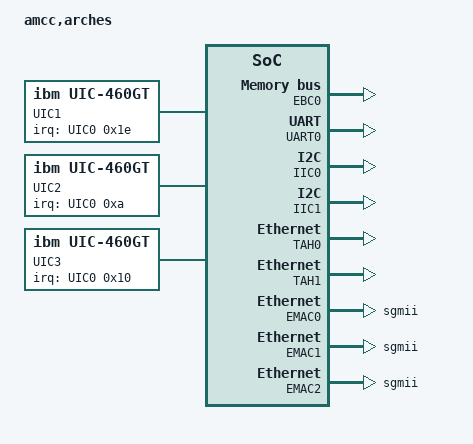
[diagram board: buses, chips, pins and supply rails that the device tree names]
/*
 * Device Tree Source for AMCC Arches (dual 460GT board)
 *
 * (C) Copyright 2008 Applied Micro Circuits Corporation
 * Victor Gallardo <vgallardo@amcc.com>
 * Adam Graham <agraham@amcc.com>
 *
 * Based on the glacier.dts file
 *   Stefan Roese <sr@denx.de>
 *   Copyright 2008 DENX Software Engineering
 *
 * See file CREDITS for list of people who contributed to this
 * project.
 *
 * This program is free software; you can redistribute it and/or
 * modify it under the terms of the GNU General Public License as
 * published by the Free Software Foundation; either version 2 of
 * the License, or (at your option) any later version.
 *
 * This program is distributed in the hope that it will be useful,
 * but WITHOUT ANY WARRANTY; without even the implied warranty of
 * MERCHANTABILITY or FITNESS FOR A PARTICULAR PURPOSE. See the
 * GNU General Public License for more details.
 *
 * You should have received a copy of the GNU General Public License
 * along with this program; if not, write to the Free Software
 * Foundation, Inc., 59 Temple Place, Suite 330, Boston,
 * MA 02111-1307 USA
 */

/dts-v1/;

/ {
	#address-cells = <2>;
	#size-cells = <1>;
	model = "amcc,arches";
	compatible = "amcc,arches";
	dcr-parent = <&{/cpus/cpu@0}>;

	aliases {
		ethernet0 = &EMAC0;
		ethernet1 = &EMAC1;
		ethernet2 = &EMAC2;
		serial0 = &UART0;
	};

	cpus {
		#address-cells = <1>;
		#size-cells = <0>;

		cpu@0 {
			device_type = "cpu";
			model = "PowerPC,460GT";
			reg = <0x00000000>;
			clock-frequency = <0>; /* Filled in by U-Boot */
			timebase-frequency = <0>; /* Filled in by U-Boot */
			i-cache-line-size = <32>;
			d-cache-line-size = <32>;
			i-cache-size = <32768>;
			d-cache-size = <32768>;
			dcr-controller;
			dcr-access-method = "native";
		};
	};

	memory {
		device_type = "memory";
		reg = <0x00000000 0x00000000 0x00000000>; /* Filled in by U-Boot */
	};

	UIC0: interrupt-controller0 {
		compatible = "ibm,uic-460gt","ibm,uic";
		interrupt-controller;
		cell-index = <0>;
		dcr-reg = <0x0c0 0x009>;
		#address-cells = <0>;
		#size-cells = <0>;
		#interrupt-cells = <2>;
	};

	UIC1: interrupt-controller1 {
		compatible = "ibm,uic-460gt","ibm,uic";
		interrupt-controller;
		cell-index = <1>;
		dcr-reg = <0x0d0 0x009>;
		#address-cells = <0>;
		#size-cells = <0>;
		#interrupt-cells = <2>;
		interrupts = <0x1e 0x4 0x1f 0x4>; /* cascade */
		interrupt-parent = <&UIC0>;
	};

	UIC2: interrupt-controller2 {
		compatible = "ibm,uic-460gt","ibm,uic";
		interrupt-controller;
		cell-index = <2>;
		dcr-reg = <0x0e0 0x009>;
		#address-cells = <0>;
		#size-cells = <0>;
		#interrupt-cells = <2>;
		interrupts = <0xa 0x4 0xb 0x4>; /* cascade */
		interrupt-parent = <&UIC0>;
	};

	UIC3: interrupt-controller3 {
		compatible = "ibm,uic-460gt","ibm,uic";
		interrupt-controller;
		cell-index = <3>;
		dcr-reg = <0x0f0 0x009>;
		#address-cells = <0>;
		#size-cells = <0>;
		#interrupt-cells = <2>;
		interrupts = <0x10 0x4 0x11 0x4>; /* cascade */
		interrupt-parent = <&UIC0>;
	};

	SDR0: sdr {
		compatible = "ibm,sdr-460gt";
		dcr-reg = <0x00e 0x002>;
	};

	CPR0: cpr {
		compatible = "ibm,cpr-460gt";
		dcr-reg = <0x00c 0x002>;
	};

	plb {
		compatible = "ibm,plb-460gt", "ibm,plb4";
		#address-cells = <2>;
		#size-cells = <1>;
		ranges;
		clock-frequency = <0>; /* Filled in by U-Boot */

		SDRAM0: sdram {
			compatible = "ibm,sdram-460gt", "ibm,sdram-405gp";
			dcr-reg = <0x010 0x002>;
		};

		MAL0: mcmal {
			compatible = "ibm,mcmal-460gt", "ibm,mcmal2";
			dcr-reg = <0x180 0x062>;
			num-tx-chans = <3>;
			num-rx-chans = <24>;
			#address-cells = <0>;
			#size-cells = <0>;
			interrupt-parent = <&UIC2>;
			interrupts = <	/*TXEOB*/ 0x6 0x4
					/*RXEOB*/ 0x7 0x4
					/*SERR*/  0x3 0x4
					/*TXDE*/  0x4 0x4
					/*RXDE*/  0x5 0x4>;
			desc-base-addr-high = <0x8>;
		};

		POB0: opb {
			compatible = "ibm,opb-460gt", "ibm,opb";
			#address-cells = <1>;
			#size-cells = <1>;
			ranges = <0xb0000000 0x00000004 0xb0000000 0x50000000>;
			clock-frequency = <0>; /* Filled in by U-Boot */

			EBC0: ebc {
				compatible = "ibm,ebc-460gt", "ibm,ebc";
				dcr-reg = <0x012 0x002>;
				#address-cells = <2>;
				#size-cells = <1>;
				clock-frequency = <0>; /* Filled in by U-Boot */
				/* ranges property is supplied by U-Boot */
				interrupts = <0x6 0x4>;
				interrupt-parent = <&UIC1>;
			};

			UART0: serial@ef600300 {
				device_type = "serial";
				compatible = "ns16550";
				reg = <0xef600300 0x00000008>;
				virtual-reg = <0xef600300>;
				clock-frequency = <0>; /* Filled in by U-Boot */
				current-speed = <0>; /* Filled in by U-Boot */
				interrupt-parent = <&UIC1>;
				interrupts = <0x1 0x4>;
			};

			IIC0: i2c@ef600700 {
				compatible = "ibm,iic-460gt", "ibm,iic";
				reg = <0xef600700 0x00000014>;
				interrupt-parent = <&UIC0>;
				interrupts = <0x2 0x4>;
			};

			IIC1: i2c@ef600800 {
				compatible = "ibm,iic-460gt", "ibm,iic";
				reg = <0xef600800 0x00000014>;
				interrupt-parent = <&UIC0>;
				interrupts = <0x3 0x4>;
			};

			TAH0: emac-tah@ef601350 {
				compatible = "ibm,tah-460gt", "ibm,tah";
				reg = <0xef601350 0x00000030>;
			};

			TAH1: emac-tah@ef601450 {
				compatible = "ibm,tah-460gt", "ibm,tah";
				reg = <0xef601450 0x00000030>;
			};

			EMAC0: ethernet@ef600e00 {
				device_type = "network";
				compatible = "ibm,emac-460gt", "ibm,emac4sync";
				interrupt-parent = <&EMAC0>;
				interrupts = <0x0 0x1>;
				#interrupt-cells = <1>;
				#address-cells = <0>;
				#size-cells = <0>;
				interrupt-map = </*Status*/ 0x0 &UIC2 0x10 0x4
						 /*Wake*/   0x1 &UIC2 0x14 0x4>;
				reg = <0xef600e00 0x000000c4>;
				local-mac-address = [000000000000]; /* Filled in by U-Boot */
				mal-device = <&MAL0>;
				mal-tx-channel = <0>;
				mal-rx-channel = <0>;
				cell-index = <0>;
				max-frame-size = <9000>;
				rx-fifo-size = <4096>;
				tx-fifo-size = <2048>;
				phy-mode = "sgmii";
				phy-map = <0xffffffff>;
				gpcs-address = <0x0000000a>;
				tah-device = <&TAH0>;
				tah-channel = <0>;
				has-inverted-stacr-oc;
				has-new-stacr-staopc;
			};

			EMAC1: ethernet@ef600f00 {
				device_type = "network";
				compatible = "ibm,emac-460gt", "ibm,emac4sync";
				interrupt-parent = <&EMAC1>;
				interrupts = <0x0 0x1>;
				#interrupt-cells = <1>;
				#address-cells = <0>;
				#size-cells = <0>;
				interrupt-map = </*Status*/ 0x0 &UIC2 0x11 0x4
						 /*Wake*/   0x1 &UIC2 0x15 0x4>;
				reg = <0xef600f00 0x000000c4>;
				local-mac-address = [000000000000]; /* Filled in by U-Boot */
				mal-device = <&MAL0>;
				mal-tx-channel = <1>;
				mal-rx-channel = <8>;
				cell-index = <1>;
				max-frame-size = <9000>;
				rx-fifo-size = <4096>;
				tx-fifo-size = <2048>;
				phy-mode = "sgmii";
				phy-map = <0x00000000>;
				gpcs-address = <0x0000000b>;
				tah-device = <&TAH1>;
				tah-channel = <1>;
				has-inverted-stacr-oc;
				has-new-stacr-staopc;
				mdio-device = <&EMAC0>;
			};

			EMAC2: ethernet@ef601100 {
				device_type = "network";
				compatible = "ibm,emac-460gt", "ibm,emac4sync";
				interrupt-parent = <&EMAC2>;
				interrupts = <0x0 0x1>;
				#interrupt-cells = <1>;
				#address-cells = <0>;
				#size-cells = <0>;
				interrupt-map = </*Status*/ 0x0 &UIC2 0x12 0x4
						 /*Wake*/   0x1 &UIC2 0x16 0x4>;
				reg = <0xef601100 0x000000c4>;
				local-mac-address = [000000000000]; /* Filled in by U-Boot */
				mal-device = <&MAL0>;
				mal-tx-channel = <2>;
				mal-rx-channel = <16>;
				cell-index = <2>;
				max-frame-size = <9000>;
				rx-fifo-size = <4096>;
				tx-fifo-size = <2048>;
				phy-mode = "sgmii";
				phy-map = <0x00000001>;
				gpcs-address = <0x0000000C>;
				has-inverted-stacr-oc;
				has-new-stacr-staopc;
				mdio-device = <&EMAC0>;
			};
		};
	};
};
